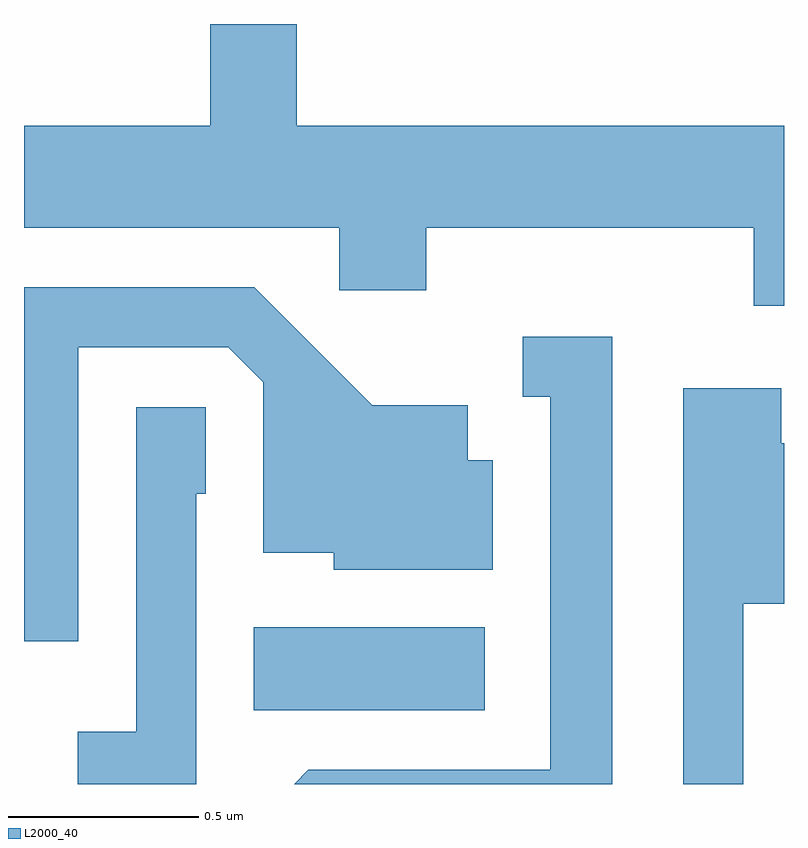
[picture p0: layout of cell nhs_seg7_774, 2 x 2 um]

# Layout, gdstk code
import gdstk
lib = gdstk.Library(unit=1e-6, precision=1e-09)
def R(c, l, rs):  # rectangles x0, y0, x1, y1
    for r in rs: c.add(gdstk.rectangle(r[:2], r[2:], *l))
def P(c, l, *ps):  # polygons
    for p in ps: c.add(gdstk.Polygon(p, *l))
L2000_40 = (2000, 40)

nhs_seg7_774 = lib.new_cell('nhs_seg7_774')
R(nhs_seg7_774, L2000_40, [(191.216,1757.446,191.824,1757.664)])
P(nhs_seg7_774, L2000_40, [(192.611,1758.984),(191.329,1758.984),(191.329,1759.252),(191.101,1759.252),(191.101,1758.984),(190.611,1758.984),(190.611,1758.716),(191.441,1758.716),(191.441,1758.551),(191.669,1758.551),(191.669,1758.716),(192.531,1758.716),(192.531,1758.511),(192.611,1758.511)],
  [(190.754,1758.401),(191.149,1758.401),(191.241,1758.309),(191.241,1757.861),(191.426,1757.861),(191.426,1757.816),(191.844,1757.816),(191.844,1758.104),(191.779,1758.104),(191.779,1758.249),(191.527,1758.249),(191.217,1758.559),(190.611,1758.559),(190.611,1757.628),(190.754,1757.628)],
  [(192.159,1758.429),(191.923,1758.429),(191.923,1758.271),(191.996,1758.271),(191.996,1757.289),(191.359,1757.289),(191.322,1757.252),(192.159,1757.252)],
  [(192.504,1757.726),(192.611,1757.726),(192.611,1758.149),(192.604,1758.149),(192.604,1758.294),(192.346,1758.294),(192.346,1757.252),(192.504,1757.252)],
  [(191.064,1758.016),(191.089,1758.016),(191.089,1758.244),(190.906,1758.244),(190.906,1757.389),(190.753,1757.389),(190.753,1757.252),(191.064,1757.252)])

lib.write_gds('nhs_seg7_774.gds')
